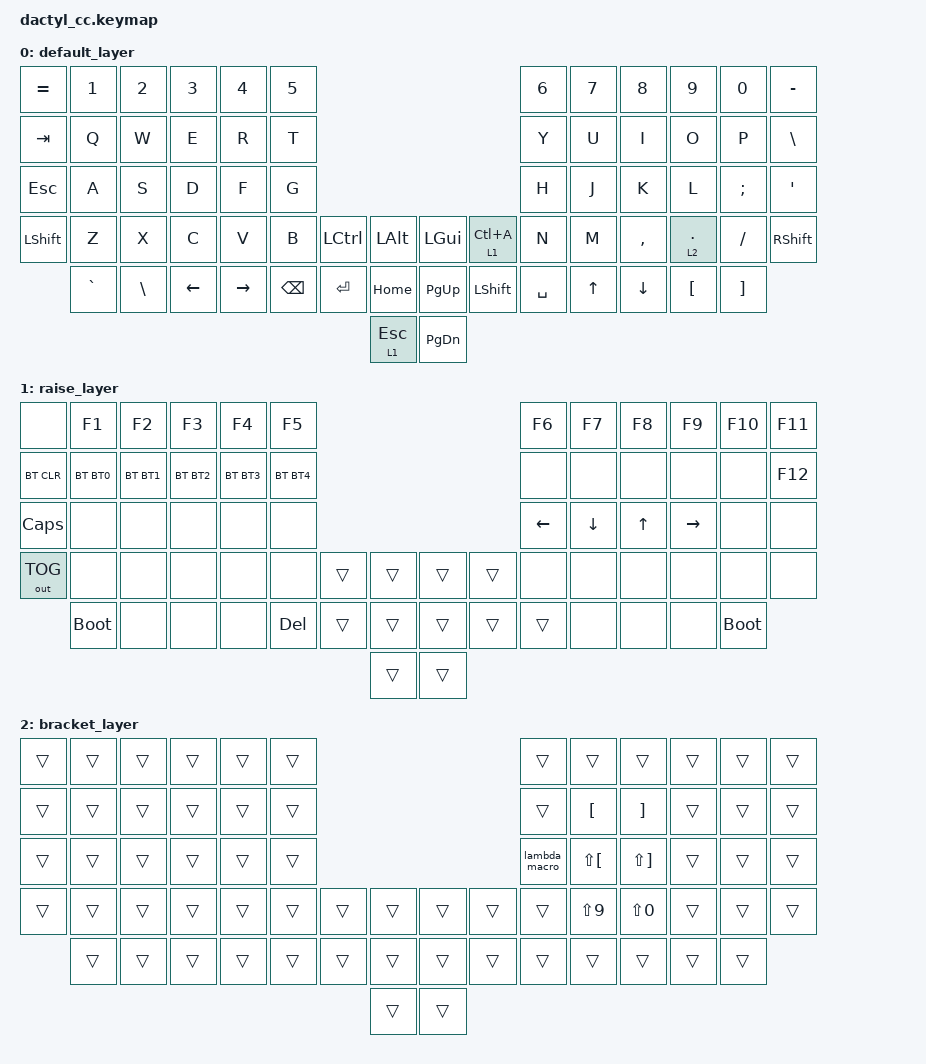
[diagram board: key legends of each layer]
/*
 * Copyright (c) 2020 The ZMK Contributors
 *
 * SPDX-License-Identifier: MIT
 */

#include <behaviors.dtsi>
#include <dt-bindings/zmk/keys.h>
#include <dt-bindings/zmk/bt.h>
#include <dt-bindings/zmk/outputs.h>
#include <dt-bindings/zmk/macros.h>

#define BT0 BT_SEL 0
#define BT1 BT_SEL 1
#define BT2 BT_SEL 2
#define BT3 BT_SEL 3
#define BT4 BT_SEL 4

#define LDR LC(A)

/ {
    macros {
        lambda_macro: lambda_macro {
            label = "Lambda function";
            compatible = "zmk,behavior-macro";
            #binding-cells = <0>;
            actions = <MAC_TAP_WAIT(20) MAC_TAP_WAIT(20) MAC_TAP_WAIT(20) MAC_TAP_WAIT(20)>;
            bindings = <&kp LBKT &kp LS(N7) &kp RBKT &kp LS(N9)>;
        };
    };

    keymap {
        compatible = "zmk,keymap";

        default_layer {
// +-------+-----+-----+-----+-----+-----+                                       +-----+-----+-----+-----+-----+-------+
// |  =    |  1  |  2  |  3  |  4  |  5  |                                       |  6  |  7  |  8  |  9  |  0  |   -   |
// +-------+-----+-----+-----+-----+-----+                                       +-----+-----+-----+-----+-----+-------+
// |  TAB  |  Q  |  W  |  E  |  R  |  T  |                                       |  Y  |  U  |  I  |  O  |  P  |   \   |
// +-------+-----+-----+-----+-----+-----+                                       +-----+-----+-----+-----+-----+-------+
// |  ESC  |  A  |  S  |  D  |  F  |  G  |                                       |  H  |  J  |  K  |  L  |  ;  |   '   |
// +-------+-----+-----+-----+-----+-----+  +------+------+     +------+------+  +-----+-----+-----+-----+-----+-------+
// | SHIFT |  Z  |  X  |  C  |  V  |  B  |  | CTRL | ALT  |     | GUI  |  LDR |  |  N  |  M  |  ,  |  .  |  /  | SHIFT |
// +-------+-----+-----+-----+-----+-+---+--+------+------+     +------+------+--+---+-+-----+-----+-----+-----+-------+
//         |  `  |  \  | LFT | RGT | |      |      | HOME |     | PGUP |      |      | | UP  | DWN |  [  |  ]  |
//         +-----+-----+-----+-----+ | BKSP | ENTER|------+     +------| SHFT | SPC  | +-----+-----+-----+-----+
//                                   |      |      | ESC  |     | PGDN |      |      |
//                                   +------+------+------+     +------+------+------+
            bindings = <
                &kp EQUAL &kp N1    &kp N2   &kp N3   &kp N4    &kp N5                                              &kp N6  &kp N7 &kp N8    &kp N9     &kp N0   &kp MINUS
                &kp TAB   &kp Q     &kp W    &kp E    &kp R     &kp T                                               &kp Y   &kp U  &kp I     &kp O      &kp P    &kp BSLH
                &kp ESC   &kp A     &kp S    &kp D    &kp F     &kp G                                               &kp H   &kp J  &kp K     &kp L      &kp SEMI &kp SQT
                &kp LSHFT &kp Z     &kp X    &kp C    &kp V     &kp B    &kp LCTRL &kp LALT    &kp LGUI  &lt 1 LDR  &kp N   &kp M  &kp COMMA &lt 2 DOT  &kp FSLH &kp RSHFT
                          &kp GRAVE &kp BSLH &kp LEFT &kp RIGHT &kp BSPC &kp RET   &kp HOME    &kp PG_UP &kp LSHIFT &kp SPC &kp UP &kp DOWN  &kp LBKT   &kp RBKT
                                                                                   &lt 1 ESC   &kp PG_DN
            >;
        };

        raise_layer {
// +-------+-----+-----+-----+-----+-----+                                       +-----+-----+-----+-----+-----+-------+
// |       |  F1 |  F2 |  F3 |  F4 |  F5 |                                       |  F6 |  F7 |  F8 |  F9 | F10 |  F11  |
// +-------+-----+-----+-----+-----+-----+                                       +-----+-----+-----+-----+-----+-------+
// | BTCLR | BT1 | BT2 | BT3 | BT4 | BT5 |                                       |     |     |     |     |     |  F12  |
// +-------+-----+-----+-----+-----+-----+                                       +-----+-----+-----+-----+-----+-------+
// | CAPS  |     |     |     |     |     |                                       | LFT | DWN |  UP | RGT |     |       |
// +-------+-----+-----+-----+-----+-----+  +------+------+     +------+------+  +-----+-----+-----+-----+-----+-------+
// | OUTTG |     |     |     |     |     |  | CTRL | ALT  |     | GUI  | XXXX |  |     |     |     |     |     |       |
// +-------+-----+-----+-----+-----+-+---+--+------+------+     +------+------+--+---+-+-----+-----+-----+-----+-------+
//         | RST |     |     |     | |      |      | HOME |     | PGUP |      |      | |     |     |     | RST |
//         +-----+-----+-----+-----+ | DEL  | ENTER|------+     +------| SHFT | SPC  | +-----+-----+-----+-----+
//                                   |      |      | ESC  |     | PGDN |      |      |
//                                   +------+------+------+     +------+------+------+
            bindings = <
                &none         &kp F1  &kp F2  &kp F3  &kp F4  &kp F5                                  &kp F6   &kp F7   &kp F8 &kp F9    &kp F10     &kp F11
                &bt BT_CLR    &bt BT0 &bt BT1 &bt BT2 &bt BT3 &bt BT4                                 &none    &none    &none  &none     &none       &kp F12
                &kp CLCK      &none   &none   &none   &none   &none                                   &kp LEFT &kp DOWN &kp UP &kp RIGHT &none       &none
                &out OUT_TOG  &none   &none   &none   &none   &none   &trans &trans     &trans &trans &none    &none    &none  &none     &none       &none
                        &bootloader   &none   &none   &none   &kp DEL &trans &trans     &trans &trans &trans   &none    &none  &none     &bootloader
                                                                             &trans     &trans
            >;
        };

        bracket_layer {
            bindings = <
                &trans &trans &trans &trans &trans &trans                                 &trans        &trans        &trans       &trans &trans &trans
                &trans &trans &trans &trans &trans &trans                                 &trans        &kp LBKT      &kp RBKT     &trans &trans &trans
                &trans &trans &trans &trans &trans &trans                                 &lambda_macro &kp LS(LBKT)  &kp LS(RBKT) &trans &trans &trans
                &trans &trans &trans &trans &trans &trans &trans &trans     &trans &trans &trans        &kp LS(N9)    &kp LS(N0)   &trans &trans &trans
                       &trans &trans &trans &trans &trans &trans &trans     &trans &trans &trans        &trans        &trans       &trans &trans
                                                                 &trans     &trans
            >;
        };
    };
};
